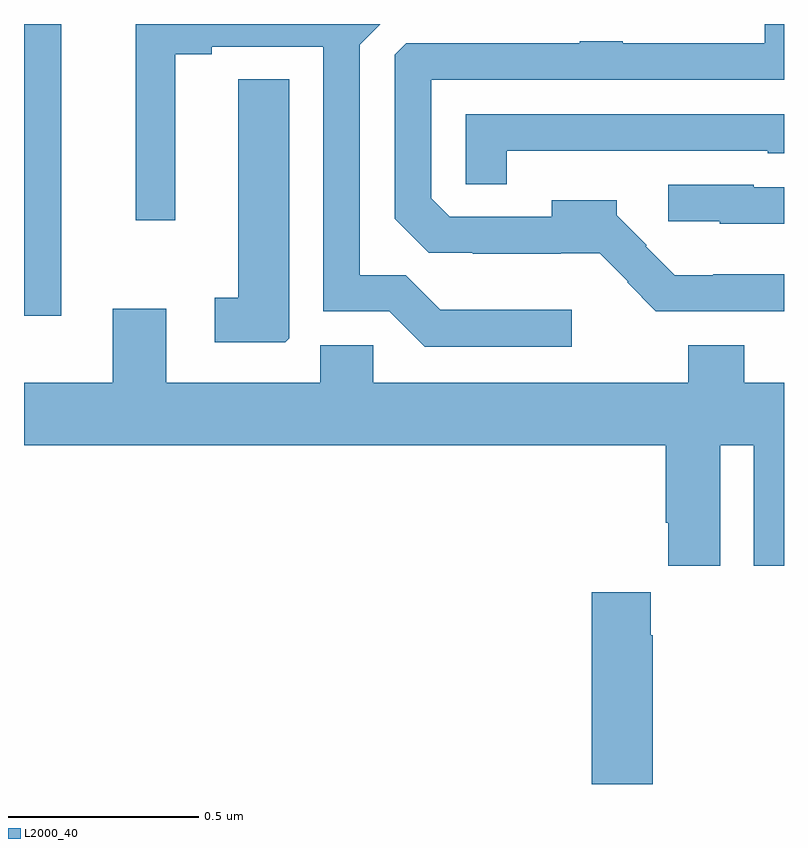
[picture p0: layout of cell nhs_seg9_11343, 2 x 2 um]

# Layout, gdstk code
import gdstk
lib = gdstk.Library(unit=1e-6, precision=1e-09)
def R(c, l, rs):  # rectangles x0, y0, x1, y1
    for r in rs: c.add(gdstk.rectangle(r[:2], r[2:], *l))
def P(c, l, *ps):  # polygons
    for p in ps: c.add(gdstk.Polygon(p, *l))
L2000_40 = (2000, 40)

nhs_seg9_11343 = lib.new_cell('nhs_seg9_11343')
R(nhs_seg9_11343, L2000_40, [(254,1224.732,254.098,1225.5)])
P(nhs_seg9_11343, L2000_40, [(255.442,1224.748),(255.095,1224.748),(255.004,1224.839),(254.883,1224.839),(254.883,1225.446),(254.937,1225.5),(254.294,1225.5),(254.294,1224.984),(254.398,1224.984),(254.398,1225.42),(254.494,1225.42),(254.494,1225.44),(254.787,1225.44),(254.787,1224.744),(254.961,1224.744),(255.054,1224.651),(255.442,1224.651)],
  [(256,1224.841),(255.814,1224.841),(255.814,1224.839),(255.713,1224.839),(255.636,1224.915),(255.639,1224.918),(255.56,1224.997),(255.56,1225.036),(255.389,1225.036),(255.389,1224.993),(255.12,1224.993),(255.072,1225.041),(255.072,1225.353),(256,1225.353),(256,1225.5),(255.949,1225.5),(255.949,1225.449),(255.575,1225.449),(255.575,1225.454),(255.463,1225.454),(255.463,1225.449),(255.006,1225.449),(254.976,1225.419),(254.976,1224.987),(255.065,1224.898),(255.181,1224.898),(255.181,1224.896),(255.413,1224.896),(255.413,1224.897),(255.515,1224.897),(255.589,1224.823),(255.587,1224.821),(255.663,1224.744),(256,1224.744)],
  [(254.698,1224.673),(254.698,1225.355),(254.564,1225.355),(254.564,1224.779),(254.502,1224.779),(254.502,1224.663),(254.688,1224.663)],
  [(255.271,1225.166),(255.525,1225.166),(255.525,1225.167),(255.957,1225.167),(255.957,1225.16),(256,1225.16),(256,1225.263),(255.162,1225.263),(255.162,1225.078),(255.271,1225.078)],
  [(256,1225.071),(255.921,1225.071),(255.921,1225.077),(255.696,1225.077),(255.696,1224.981),(255.831,1224.981),(255.831,1224.974),(256,1224.974)],
  [(255.895,1224.655),(255.748,1224.655),(255.748,1224.556),(254.919,1224.556),(254.919,1224.654),(254.78,1224.654),(254.78,1224.556),(254.374,1224.556),(254.374,1224.751),(254.234,1224.751),(254.234,1224.556),(254,1224.556),(254,1224.392),(255.689,1224.392),(255.689,1224.187),(255.695,1224.187),(255.695,1224.075),(255.832,1224.075),(255.832,1224.392),(255.92,1224.392),(255.92,1224.075),(256,1224.075),(256,1224.556),(255.895,1224.556)],
  [(255.654,1223.891),(255.649,1223.891),(255.649,1224.004),(255.494,1224.004),(255.494,1223.5),(255.654,1223.5)])

lib.write_gds('nhs_seg9_11343.gds')
